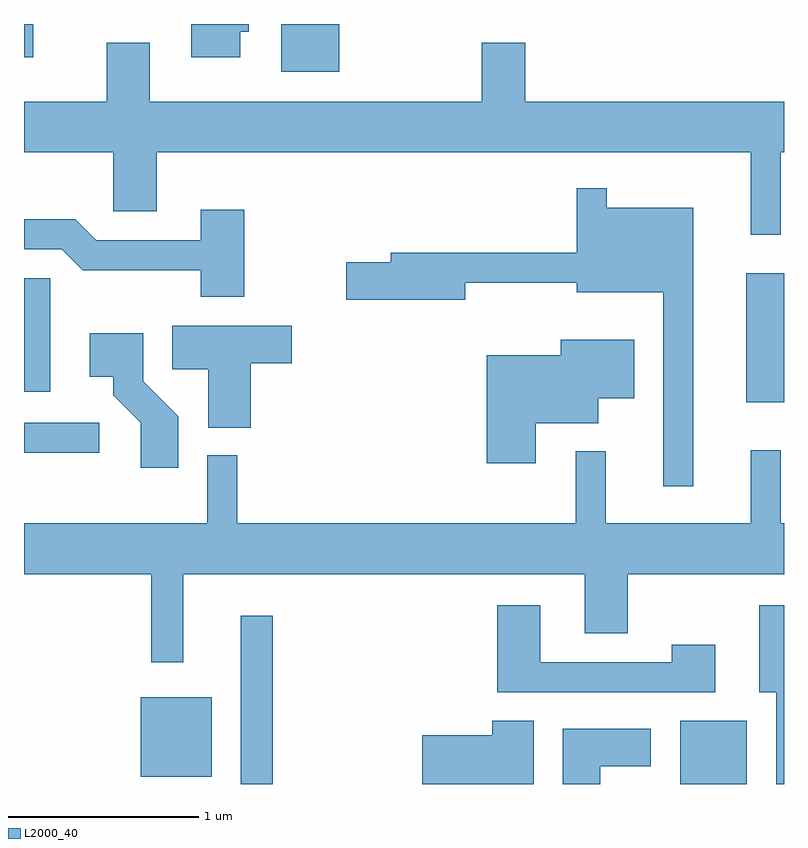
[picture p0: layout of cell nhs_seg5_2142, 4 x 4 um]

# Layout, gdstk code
import gdstk
lib = gdstk.Library(unit=1e-6, precision=1e-09)
def R(c, l, rs):  # rectangles x0, y0, x1, y1
    for r in rs: c.add(gdstk.rectangle(r[:2], r[2:], *l))
def P(c, l, *ps):  # polygons
    for p in ps: c.add(gdstk.Polygon(p, *l))
L2000_40 = (2000, 40)

nhs_seg5_2142 = lib.new_cell('nhs_seg5_2142')
R(nhs_seg5_2142, L2000_40, [(248.751,1520.072,248.919,1520.958), (251.066,1520.072,251.414,1520.404), (248.226,1520.111,248.599,1520.529), (247.611,1521.816,248.008,1521.974), (251.411,1522.081,251.611,1522.759), (247.611,1522.136,247.749,1522.734), (248.966,1523.821,249.269,1524.072), (247.611,1523.896,247.659,1524.072)])
P(nhs_seg5_2142, L2000_40, [(248.749,1524.031),(248.794,1524.031),(248.794,1524.072),(248.491,1524.072),(248.491,1523.896),(248.749,1523.896)],
  [(251.594,1523.396),(251.611,1523.396),(251.611,1523.664),(250.249,1523.664),(250.249,1523.974),(250.021,1523.974),(250.021,1523.664),(248.274,1523.664),(248.274,1523.974),(248.046,1523.974),(248.046,1523.664),(247.611,1523.664),(247.611,1523.396),(248.081,1523.396),(248.081,1523.086),(248.309,1523.086),(248.309,1523.396),(251.436,1523.396),(251.436,1522.963),(251.594,1522.963)],
  [(251.134,1523.104),(250.679,1523.104),(250.679,1523.208),(250.521,1523.208),(250.521,1522.869),(249.541,1522.869),(249.541,1522.819),(249.306,1522.819),(249.306,1522.621),(249.934,1522.621),(249.934,1522.711),(250.521,1522.711),(250.521,1522.661),(250.976,1522.661),(250.976,1521.638),(251.134,1521.638)],
  [(248.769,1523.094),(248.541,1523.094),(248.541,1522.934),(247.992,1522.934),(247.882,1523.044),(247.611,1523.044),(247.611,1522.886),(247.809,1522.886),(247.919,1522.776),(248.541,1522.776),(248.541,1522.636),(248.769,1522.636)],
  [(248.804,1522.286),(249.019,1522.286),(249.019,1522.484),(248.391,1522.484),(248.391,1522.256),(248.581,1522.256),(248.581,1521.946),(248.804,1521.946)],
  [(248.424,1522.007),(248.239,1522.192),(248.239,1522.444),(247.956,1522.444),(247.956,1522.216),(248.081,1522.216),(248.081,1522.119),(248.226,1521.974),(248.226,1521.736),(248.424,1521.736)],
  [(250.304,1521.971),(250.634,1521.971),(250.634,1522.101),(250.824,1522.101),(250.824,1522.409),(250.436,1522.409),(250.436,1522.329),(250.046,1522.329),(250.046,1521.761),(250.304,1521.761)],
  [(248.449,1521.176),(250.561,1521.176),(250.561,1520.866),(250.789,1520.866),(250.789,1521.176),(251.611,1521.176),(251.611,1521.444),(251.594,1521.444),(251.594,1521.828),(251.436,1521.828),(251.436,1521.444),(250.674,1521.444),(250.674,1521.823),(250.516,1521.823),(250.516,1521.444),(248.734,1521.444),(248.734,1521.803),(248.576,1521.803),(248.576,1521.444),(247.611,1521.444),(247.611,1521.176),(248.281,1521.176),(248.281,1520.713),(248.449,1520.713)],
  [(251.611,1521.014),(251.481,1521.014),(251.481,1520.556),(251.571,1520.556),(251.571,1520.072),(251.611,1520.072)],
  [(251.249,1520.804),(251.021,1520.804),(251.021,1520.714),(250.329,1520.714),(250.329,1521.014),(250.101,1521.014),(250.101,1520.556),(251.249,1520.556)],
  [(250.294,1520.404),(250.076,1520.404),(250.076,1520.329),(249.706,1520.329),(249.706,1520.072),(250.294,1520.072)],
  [(250.644,1520.166),(250.909,1520.166),(250.909,1520.364),(250.446,1520.364),(250.446,1520.072),(250.644,1520.072)])

lib.write_gds('nhs_seg5_2142.gds')
